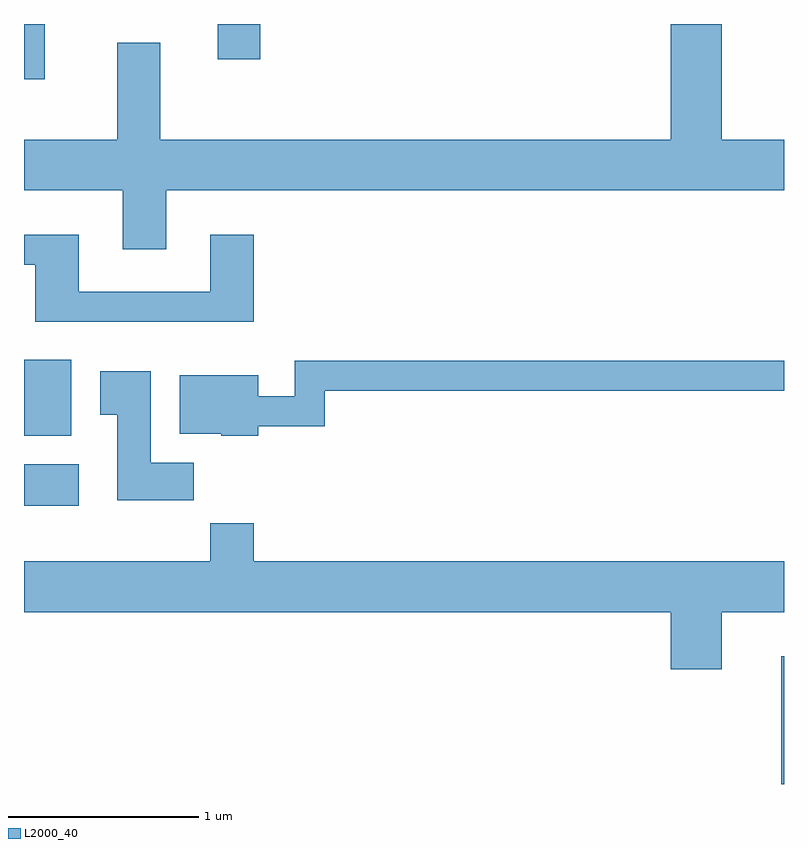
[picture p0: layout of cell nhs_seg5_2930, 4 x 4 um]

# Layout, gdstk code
import gdstk
lib = gdstk.Library(unit=1e-6, precision=1e-09)
def R(c, l, rs):  # rectangles x0, y0, x1, y1
    for r in rs: c.add(gdstk.rectangle(r[:2], r[2:], *l))
def P(c, l, *ps):  # polygons
    for p in ps: c.add(gdstk.Polygon(p, *l))
L2000_40 = (2000, 40)

nhs_seg5_2930 = lib.new_cell('nhs_seg5_2930')
R(nhs_seg5_2930, L2000_40, [(275.596,1498.072,275.611,1498.744), (271.611,1499.536,271.899,1499.754), (271.611,1499.906,271.859,1500.304), (271.611,1501.781,271.719,1502.072), (272.631,1501.886,272.854,1502.072)])
P(nhs_seg5_2930, L2000_40, [(272.359,1501.196),(275.611,1501.196),(275.611,1501.464),(275.284,1501.464),(275.284,1502.072),(275.016,1502.072),(275.016,1501.464),(272.329,1501.464),(272.329,1501.974),(272.101,1501.974),(272.101,1501.464),(271.611,1501.464),(271.611,1501.196),(272.131,1501.196),(272.131,1500.886),(272.359,1500.886)],
  [(272.819,1500.964),(272.591,1500.964),(272.591,1500.664),(271.899,1500.664),(271.899,1500.964),(271.611,1500.964),(271.611,1500.806),(271.671,1500.806),(271.671,1500.506),(272.819,1500.506)],
  [(272.844,1499.956),(273.194,1499.956),(273.194,1500.141),(275.611,1500.141),(275.611,1500.299),(273.036,1500.299),(273.036,1500.114),(272.844,1500.114),(272.844,1500.224),(272.431,1500.224),(272.431,1499.916),(272.65,1499.916),(272.65,1499.906),(272.844,1499.906)],
  [(272.504,1499.764),(272.279,1499.764),(272.279,1500.244),(272.011,1500.244),(272.011,1500.016),(272.101,1500.016),(272.101,1499.566),(272.504,1499.566)],
  [(275.284,1498.976),(275.611,1498.976),(275.611,1499.244),(272.819,1499.244),(272.819,1499.444),(272.591,1499.444),(272.591,1499.244),(271.611,1499.244),(271.611,1498.976),(275.016,1498.976),(275.016,1498.676),(275.284,1498.676)])

lib.write_gds('nhs_seg5_2930.gds')
